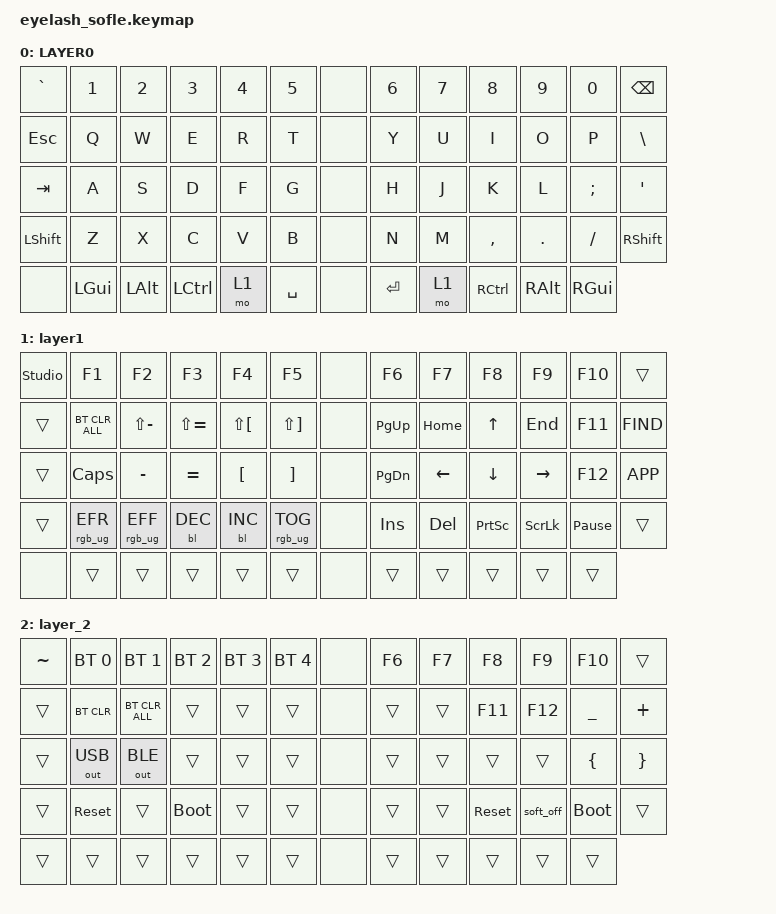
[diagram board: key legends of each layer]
#define ZMK_POINTING_DEFAULT_MOVE_VAL 1200  // 600
#define ZMK_POINTING_DEFAULT_SCRL_VAL 35    // 10

#include <input/processors.dtsi>
#include <zephyr/dt-bindings/input/input-event-codes.h>
#include <behaviors.dtsi>
#include <dt-bindings/zmk/backlight.h>
#include <dt-bindings/zmk/bt.h>
#include <dt-bindings/zmk/keys.h>
#include <dt-bindings/zmk/outputs.h>
#include <dt-bindings/zmk/pointing.h>
#include <dt-bindings/zmk/rgb.h>

/ {
    zip_scroll_scaler: zip_scroll_scaler {
        compatible = "zmk,input-processor-scaler";
        #input-processor-cells = <2>;
        type = <INPUT_EV_REL>;
        codes = <INPUT_REL_WHEEL INPUT_REL_HWHEEL>;
        track-remainders;
    };
};

&mmv_input_listener { input-processors = <&zip_xy_scaler 2 1>; };

&msc_input_listener { input-processors = <&zip_scroll_scaler 2 1>; };

&msc {
    acceleration-exponent = <0>;      // 0
    time-to-max-speed-ms = <0>;       // 300
    delay-ms = <0>;                   // 0
};

&mmv {
    time-to-max-speed-ms = <400>;
    acceleration-exponent = <1>;
};

/ {
    scroll_encoder: scroll_encoder {
        compatible = "zmk,behavior-sensor-rotate";
        #sensor-binding-cells = <0>;
        bindings = <&msc SCRL_DOWN>, <&msc SCRL_UP>;

        tap-ms = <30>;
    };

    behaviors {
    };

    keymap {
        compatible = "zmk,keymap";

        layer0 {
            bindings = <
&kp GRAVE  &kp N1    &kp N2    &kp N3     &kp N4  &kp N5       &none  &kp N6     &kp N7  &kp N8     &kp N9    &kp N0    &kp BACKSPACE
&kp ESC    &kp Q     &kp W     &kp E      &kp R   &kp T        &none  &kp Y      &kp U   &kp I      &kp O     &kp P     &kp BSLH
&kp TAB    &kp A     &kp S     &kp D      &kp F   &kp G        &none  &kp H      &kp J   &kp K      &kp L     &kp SEMI  &kp APOS
&kp LSHFT  &kp Z     &kp X     &kp C      &kp V   &kp B        &none  &kp N      &kp M   &kp COMMA  &kp DOT   &kp FSLH  &kp RSHFT
&none      &kp LGUI  &kp LALT  &kp LCTRL  &mo 1   &kp SPACE    &none  &kp ENTER  &mo 1   &kp RCTRL  &kp RALT  &kp RGUI
            >;

            display-name = "LAYER0";
        };

        layer_1 {
            bindings = <
&studio_unlock  &kp F1           &kp F2           &kp F3         &kp F4                &kp F5                   &none  &kp F6     &kp F7    &kp F8           &kp F9          &kp F10          &trans
&trans          &bt BT_CLR_ALL   &kp LS(MINUS)    &kp LS(EQUAL)  &kp LS(LEFT_BRACKET)  &kp LS(RIGHT_BRACKET)    &none  &kp PG_UP  &kp HOME  &kp UP           &kp END         &kp F11          &kp K_FIND
&trans          &kp CLCK         &kp MINUS        &kp EQUAL      &kp LEFT_BRACKET      &kp RIGHT_BRACKET        &none  &kp PG_DN  &kp LEFT  &kp DOWN         &kp RIGHT       &kp F12          &kp K_APP
&trans          &rgb_ug RGB_EFR  &rgb_ug RGB_EFF  &bl BL_DEC     &bl BL_INC            &rgb_ug RGB_TOG          &none  &kp INS    &kp DEL   &kp PRINTSCREEN  &kp SCROLLLOCK  &kp PAUSE_BREAK  &trans
&none           &trans           &trans           &trans         &trans                &trans                   &none  &trans     &trans    &trans           &trans          &trans
            >;

            display-name = "layer1";
        };

        layer_2 {
            bindings = <
&kp TILDE  &bt BT_SEL 0  &bt BT_SEL 1    &bt BT_SEL 2  &bt BT_SEL 3  &bt BT_SEL 4    &none  &kp F6  &kp F7  &kp F8      &kp F9     &kp F10      &trans
&trans     &bt BT_CLR    &bt BT_CLR_ALL  &trans        &trans        &trans          &none  &trans  &trans  &kp F11     &kp F12    &kp UNDER    &kp PLUS
&trans     &out OUT_USB  &out OUT_BLE    &trans        &trans        &trans          &none  &trans  &trans  &trans      &trans     &kp LBRC     &kp RBRC
&trans     &sys_reset    &trans          &bootloader   &trans        &trans          &none  &trans  &trans  &sys_reset  &soft_off  &bootloader  &trans
&trans     &trans        &trans          &trans        &trans        &trans          &none  &trans  &trans  &trans      &trans     &trans
            >;
        };
    };
};
